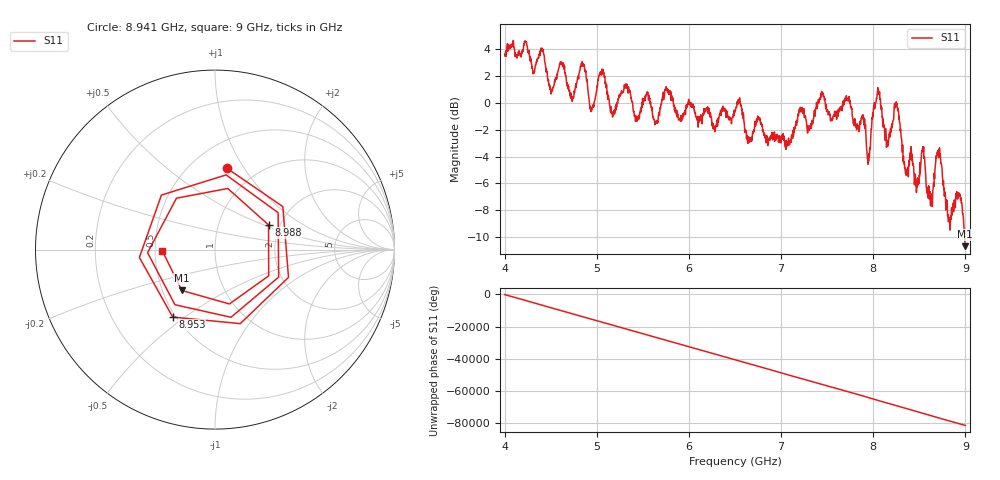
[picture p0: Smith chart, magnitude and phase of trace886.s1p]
! Created with skrf 1.8.0 (http://scikit-rf.org).
# Hz S RI R 50.0
!freq ReS11 ImS11
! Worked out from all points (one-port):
!   1601 points, 4 GHz to 9 GHz, reference 50 ohm
!   lowest |S11| = -10.7 dB at 8.997 GHz (marker M1), VSWR 1.83, Z = 31.4 - j15.6 ohm
!   |S11| at or under -10 dB: 8.99355 GHz to end of sweep
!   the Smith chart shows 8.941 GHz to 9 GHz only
!   S11 on the Smith chart (normalised r, x): 8.941 GHz: 0.74, +0.84; 8.953 GHz: 0.48, -0.45; 8.988 GHz: 1.74, +0.54; 9 GHz: 0.55, -0.01
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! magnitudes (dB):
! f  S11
! 4 GHz  3.6
! 4.406 GHz  4.0
! 4.506 GHz  0.7
! 4.625 GHz  2.8
! 4.734 GHz  0.1
! 4.856 GHz  2.7
! 4.944 GHz  -0.6
! 5.05 GHz  2.3
! 5.162 GHz  -0.7
! 5.25 GHz  0.5
! 5.875 GHz  -1.0
! 6.5 GHz  -0.7
! 7.125 GHz  -2.7
! 7.75 GHz  0.0
! 7.947 GHz  -4.1
! 8.044 GHz  0.8
! 8.15 GHz  -3.0
! 8.25 GHz  0.1
! 8.375 GHz  -5.1
! 8.541 GHz  -3.5
! 8.619 GHz  -7.2
! 8.706 GHz  -3.5
! 8.819 GHz  -8.7
! 8.941 GHz  -6.8
! 8.953 GHz  -7.1
! 8.988 GHz  -9.7
! 8.997 GHz  -10.7
! 9 GHz  -10.6
